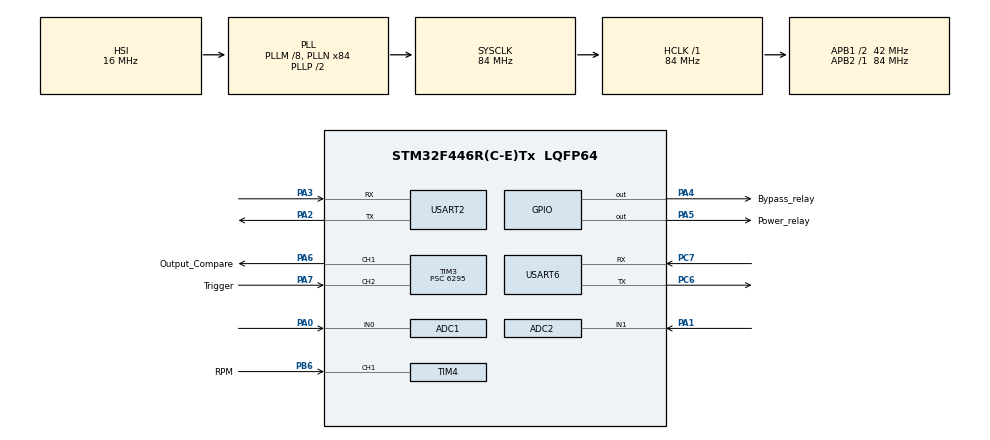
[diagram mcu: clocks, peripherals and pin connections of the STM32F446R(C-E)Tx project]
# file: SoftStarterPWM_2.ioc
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ADC1.Channel-0\#ChannelRegularConversion=ADC_CHANNEL_0
ADC1.ClockPrescaler=ADC_CLOCK_SYNC_PCLK_DIV4
ADC1.ContinuousConvMode=DISABLE
ADC1.DMAContinuousRequests=ENABLE
ADC1.DataAlign=ADC_DATAALIGN_RIGHT
ADC1.DiscontinuousConvMode=DISABLE
ADC1.EOCSelection=ADC_EOC_SINGLE_CONV
ADC1.EnableAnalogWatchDog=false
ADC1.ExternalTrigConv=ADC_EXTERNALTRIGCONV_T2_TRGO
ADC1.ExternalTrigConvEdge=ADC_EXTERNALTRIGCONVEDGE_RISING
ADC1.InjNumberOfConversion=0
ADC1.NbrOfConversion=1
ADC1.NbrOfConversionFlag=1
ADC1.Rank-0\#ChannelRegularConversion=1
ADC1.Resolution=ADC_RESOLUTION_12B
ADC1.SamplingTime-0\#ChannelRegularConversion=ADC_SAMPLETIME_3CYCLES
ADC1.ScanConvMode=DISABLE
ADC1.master=1
ADC2.Channel-8\#ChannelRegularConversion=ADC_CHANNEL_1
ADC2.ClockPrescaler=ADC_CLOCK_SYNC_PCLK_DIV4
ADC2.ContinuousConvMode=DISABLE
ADC2.DMAContinuousRequests=ENABLE
ADC2.DataAlign=ADC_DATAALIGN_RIGHT
ADC2.DiscontinuousConvMode=DISABLE
ADC2.EOCSelection=ADC_EOC_SINGLE_CONV
ADC2.EnableAnalogWatchDog=false
ADC2.ExternalTrigConv=ADC_EXTERNALTRIGCONV_T2_TRGO
ADC2.ExternalTrigConvEdge=ADC_EXTERNALTRIGCONVEDGE_RISING
ADC2.InjNumberOfConversion=0
ADC2.NbrOfConversion=1
ADC2.NbrOfConversionFlag=1
ADC2.Rank-8\#ChannelRegularConversion=1
ADC2.Resolution=ADC_RESOLUTION_12B
ADC2.SamplingTime-8\#ChannelRegularConversion=ADC_SAMPLETIME_3CYCLES
ADC2.ScanConvMode=DISABLE
Dma.ADC1.0.Direction=DMA_PERIPH_TO_MEMORY
Dma.ADC1.0.FIFOMode=DMA_FIFOMODE_DISABLE
Dma.ADC1.0.Instance=DMA2_Stream0
Dma.ADC1.0.MemDataAlignment=DMA_MDATAALIGN_HALFWORD
Dma.ADC1.0.MemInc=DMA_MINC_ENABLE
Dma.ADC1.0.Mode=DMA_CIRCULAR
Dma.ADC1.0.PeriphDataAlignment=DMA_PDATAALIGN_HALFWORD
Dma.ADC1.0.PeriphInc=DMA_PINC_DISABLE
Dma.ADC1.0.Priority=DMA_PRIORITY_HIGH
Dma.ADC2.1.Direction=DMA_PERIPH_TO_MEMORY
Dma.ADC2.1.FIFOMode=DMA_FIFOMODE_DISABLE
Dma.ADC2.1.Instance=DMA2_Stream2
Dma.ADC2.1.MemDataAlignment=DMA_MDATAALIGN_HALFWORD
Dma.ADC2.1.MemInc=DMA_MINC_ENABLE
Dma.ADC2.1.Mode=DMA_CIRCULAR
Dma.ADC2.1.PeriphDataAlignment=DMA_PDATAALIGN_HALFWORD
Dma.ADC2.1.PeriphInc=DMA_PINC_DISABLE
Dma.ADC2.1.Priority=DMA_PRIORITY_LOW
Dma.Request0=ADC1
Dma.Request1=ADC2
FREERTOS.Tasks01=Measure_Task,0,128,Measure_Thread,Default,NULL,Dynamic,NULL,NULL;Serial_Task,0,128,Serial_Thread,Default,NULL,Dynamic,NULL,NULL;RPM_Task,0,128,RPM_Thread,Default,NULL,Dynamic,NULL,NULL;Alarm_Task,0,128,Alarm_Thread,Default,NULL,Dynamic,NULL,NULL;Initialization_,3,128,Initialization_Thread,Default,NULL,Dynamic,NULL,NULL;SoftStart_Task,0,128,SoftStart_Thread,Default,NULL,Dynamic,NULL,NULL;Chart_Task,0,128,Chart_Thread,Default,NULL,Dynamic,NULL,NULL
FREERTOS.configUSE_PREEMPTION=1
Mcu.Family=STM32F4
Mcu.Name=STM32F446R(C-E)Tx
Mcu.Package=LQFP64
NVIC.DMA2_Stream0_IRQn=true\:5\:0\:false\:false\:true\:true\:false
NVIC.DMA2_Stream2_IRQn=true\:5\:0\:false\:false\:true\:true\:false
NVIC.PriorityGroup=NVIC_PRIORITYGROUP_4
NVIC.TIM1_UP_TIM10_IRQn=true\:5\:0\:false\:false\:true\:true\:true
NVIC.TIM3_IRQn=true\:5\:0\:false\:false\:true\:true\:true
NVIC.TIM4_IRQn=true\:5\:0\:false\:false\:true\:true\:true
NVIC.TIM8_TRG_COM_TIM14_IRQn=true\:0\:0\:false\:false\:true\:false\:false
NVIC.TimeBase=TIM8_TRG_COM_TIM14_IRQn
NVIC.TimeBaseIP=TIM14
PA0-WKUP.Signal=ADCx_IN0
PA1.Signal=ADCx_IN1
PA2.Mode=Asynchronous
PA2.Signal=USART2_TX
PA3.Mode=Asynchronous
PA3.Signal=USART2_RX
PA4.GPIO_Label=Bypass_relay
PA4.Signal=GPIO_Output
PA5.GPIO_Label=Power_relay
PA5.Signal=GPIO_Output
PA6.GPIO_Label=Output_Compare
PA6.Signal=S_TIM3_CH1
PA7.GPIO_Label=Trigger
PA7.GPIO_PuPd=GPIO_PULLDOWN
PA7.Signal=S_TIM3_CH2
PB6.GPIO_Label=RPM
PB6.Signal=S_TIM4_CH1
PC6.Mode=Asynchronous
PC6.Signal=USART6_TX
PC7.Mode=Asynchronous
PC7.Signal=USART6_RX
ProjectManager.HeapSize=0x200
ProjectManager.StackSize=0x400
ProjectManager.TargetToolchain=SW4STM32
RCC.AHBFreq_Value=84000000
RCC.APB1CLKDivider=RCC_HCLK_DIV2
RCC.APB1Freq_Value=42000000
RCC.APB1TimFreq_Value=84000000
RCC.APB2Freq_Value=84000000
RCC.APB2TimFreq_Value=84000000
RCC.CortexFreq_Value=84000000
RCC.HCLKFreq_Value=84000000
RCC.PLLM=8
RCC.PLLN=84
RCC.SYSCLKFreq_VALUE=84000000
RCC.SYSCLKSource=RCC_SYSCLKSOURCE_PLLCLK
RCC.USBFreq_Value=84000000
RCC.VCOOutputFreq_Value=168000000
SH.ADCx_IN0.0=ADC1_IN0,IN0
SH.ADCx_IN1.0=ADC2_IN1,IN1
SH.S_TIM3_CH1.0=TIM3_CH1,PWM Generation1 CH1
SH.S_TIM3_CH2.0=TIM3_CH2,TriggerSource_TI2FP2
SH.S_TIM4_CH1.0=TIM4_CH1,Input_Capture1_from_TI1
TIM1.Period=9999
TIM1.Prescaler=8499
TIM1.TIM_MasterOutputTrigger=TIM_TRGO_RESET
TIM2.Period=199
TIM2.Prescaler=174
TIM2.TIM_MasterOutputTrigger=TIM_TRGO_UPDATE
TIM3.Channel-PWM\ Generation1\ CH1=TIM_CHANNEL_1
TIM3.OCPolarity_1=TIM_OCPOLARITY_LOW
TIM3.Period=102
TIM3.Prescaler=6295
TIM3.Pulse-PWM\ Generation1\ CH1=150
TIM3.Slave_TriggerFilter=15
TIM3.Slave_TriggerPolarity=TIM_TRIGGERPOLARITY_FALLING
TIM4.Channel-Input_Capture1_from_TI1=TIM_CHANNEL_1
TIM4.ICFilter_CH1=10
TIM4.Period=999
TIM4.Prescaler=419
USART2.VirtualMode=VM_ASYNC
USART6.VirtualMode=VM_ASYNC
VP_FREERTOS_VS_ENABLE.Mode=Enabled
VP_SYS_VS_tim14.Mode=TIM14
VP_TIM1_VS_ClockSourceINT.Mode=Internal
VP_TIM2_VS_ClockSourceINT.Mode=Internal
VP_TIM3_VS_ClockSourceINT.Mode=Internal
VP_TIM3_VS_ControllerModeTrigger.Mode=Trigger Mode
VP_TIM3_VS_OPM.Mode=OPM_bit
VP_TIM4_VS_ClockSourceINT.Mode=Internal
board=SoftStarter

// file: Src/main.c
/**
  ******************************************************************************
  * @file           : main.c
  * @author         : Pedro Klein
  * @brief          : Programa para o controle do softstarter e da comunicacao com a interface
  ******************************************************************************
  * This notice applies to any and all portions of this file
  * that are not between comment pairs USER CODE BEGIN and
  * USER CODE END. Other portions of this file, whether
  * inserted by the user or by software development tools
  * are owned by their respective copyright owners.
  *
  * Copyright (c) 2018 STMicroelectronics International N.V.
  * All rights reserved.
  *
  * Redistribution and use in source and binary forms, with or without
  * modification, are permitted, provided that the following conditions are met:
  *
  * 1. Redistribution of source code must retain the above copyright notice,
  *    this list of conditions and the following disclaimer.
  * 2. Redistributions in binary form must reproduce the above copyright notice,
  *    this list of conditions and the following disclaimer in the documentation
  *    and/or other materials provided with the distribution.
  * 3. Neither the name of STMicroelectronics nor the names of other
  *    contributors to this software may be used to endorse or promote products
  *    derived from this software without specific written permission.
  * 4. This software, including modifications and/or derivative works of this
  *    software, must execute solely and exclusively on microcontroller or
  *    microprocessor devices manufactured by or for STMicroelectronics.
  * 5. Redistribution and use of this software other than as permitted under
  *    this license is void and will automatically terminate your rights under
  *    this license.
  *
  * THIS SOFTWARE IS PROVIDED BY STMICROELECTRONICS AND CONTRIBUTORS "AS IS"
  * AND ANY EXPRESS, IMPLIED OR STATUTORY WARRANTIES, INCLUDING, BUT NOT
  * LIMITED TO, THE IMPLIED WARRANTIES OF MERCHANTABILITY, FITNESS FOR A
  * PARTICULAR PURPOSE AND NON-INFRINGEMENT OF THIRD PARTY INTELLECTUAL PROPERTY
  * RIGHTS ARE DISCLAIMED TO THE FULLEST EXTENT PERMITTED BY LAW. IN NO EVENT
  * SHALL STMICROELECTRONICS OR CONTRIBUTORS BE LIABLE FOR ANY DIRECT, INDIRECT,
  * INCIDENTAL, SPECIAL, EXEMPLARY, OR CONSEQUENTIAL DAMAGES (INCLUDING, BUT NOT
  * LIMITED TO, PROCUREMENT OF SUBSTITUTE GOODS OR SERVICES; LOSS OF USE, DATA,
  * OR PROFITS; OR BUSINESS INTERRUPTION) HOWEVER CAUSED AND ON ANY THEORY OF
  * LIABILITY, WHETHER IN CONTRACT, STRICT LIABILITY, OR TORT (INCLUDING
  * NEGLIGENCE OR OTHERWISE) ARISING IN ANY WAY OUT OF THE USE OF THIS SOFTWARE,
  * EVEN IF ADVISED OF THE POSSIBILITY OF SUCH DAMAGE.
  *
  ******************************************************************************
  */
#include "main.h"
#include "stm32f4xx_hal.h"
#include "cmsis_os.h"

/* USER CODE BEGIN Includes */
#include <math.h>
//!Resolucao do ADC do Vrms
#define ADC_RES_Vrms 0.16748
//!Definicao do Vpico de Vrms
#define Vpike 342
//!Numero de aquisicoes durante a subida e descida para o grafico
#define Aquisitions 26
//!Valor minimo do angulo (varia de 1-100)
#define Increment_minimum 1
#define Arr_period 102
//!Erro compensado na medida Vrms
#define Vrms_ERROR 1.3
//!Erro compensado na medida Irms
#define Irms_ERROR 1

/**
  * @brief enum dos comandos recebidos pela interface
  * @note START:Comando recebido para iniciar
  * @note STOP:Comando recebido para parar
  * @note EMERGENCY:Comando recebido para parada de emergencia
  * @note VRMSREAD:Comando exigindo medida Vrms como retorno
  * @note IRMSREAD:Comando exigindo medida Irms como retorno
  * @note CURRENTSET:Comando que define a corrente nominal do motor
  */
enum calls
{
  START = 0x72,
  STOP = 0x66,
  EMERGENCY = 0x61,
  VRMSREAD = 0x76,
  IRMSREAD = 0x69,
  CURRENTSET = 0x63
};

/* USER CODE END Includes */

//!ADC1 usado para medidas de tensao
ADC_HandleTypeDef hadc1;
//!ADC2 usado para medidas de corrente
ADC_HandleTypeDef hadc2;
//!ADC1 usado com DMA
DMA_HandleTypeDef hdma_adc1;
//!ADC2 usado com DMA
DMA_HandleTypeDef hdma_adc2;

//!Timer 1 usado para atualizar o deslocamento do pulso de controle
TIM_HandleTypeDef htim1;
//!Timer 2 usado para triggar a conversao dos ADC's por DMA
TIM_HandleTypeDef htim2;
//!Timer 3 usado para gerar o pulso de controle (PWM)
TIM_HandleTypeDef htim3;
//!Timer 4 usado para contar RPM (IC)
TIM_HandleTypeDef htim4;

//!Comunicacao por cabo
UART_HandleTypeDef huart2;
//!Comunicacao por bluetooth
UART_HandleTypeDef huart6;

osThreadId Measure_TaskHandle;
osThreadId Serial_TaskHandle;
osThreadId RPM_TaskHandle;
osThreadId Alarm_TaskHandle;
osThreadId Initialization_Handle;
osThreadId SoftStart_TaskHandle;
osThreadId Chart_TaskHandle;

/* USER CODE BEGIN PV */

//!Semaforo para sincronizacao do AD com a thread de calculo rms.
xSemaphoreHandle ADC_Conv_Semaphore = 0;
//!Semaforo para sincronizacao do deslocamento de pulso com a thread de atualizacao do pulso
xSemaphoreHandle Increment_Semaphore = 0;
//!Semaforo para envio de notificacao de emergencia a interface.
xSemaphoreHandle Emergency_Semaphore = 0;
//!Semaforo para envio de notificacao de corrente > 150% a interface
xSemaphoreHandle E150_Semaphore = 0;

/* Private variables ---------------------------------------------------------*/

//!Vetor que recebe conversao do ADC1
uint16_t ADC_Values_Vrms[16];
//!Vetor que recebe conversao do ADC2
uint16_t ADC_Values_Irms[16];
//!Variavel que recebe corrente nominal do motor da interface
uint16_t Nominal_Current = 500;
//!Variavel que recebe o Ipico da medida Irms
uint16_t Ipike = 1000;
//!Vetor das medidas Irms do grafico de subida
uint16_t Irms_data_rise[Aquisitions];
//!Vetor das medidas Irms do grafico de descida
uint16_t Irms_data_fall[Aquisitions];
//!Variavel que armazena valor de 200% de Irms
uint16_t i200 = 10000;
//!Variavel que armazena valor de 150% de Irms
uint16_t i150 = 10000;
//!Variavel que recebe valor final de Vrms
uint16_t Vrms;
//!Variavel que recebe valor final de Irms
uint16_t Irms;

//!Variavel que recebe tempo de subida
uint8_t rising_time = 5;
//!Variavel que recebe tempo de descida
uint8_t falling_time = 5;
//!Variavel que desloca os pulsos de controle
uint8_t increment = 102;
//!Flag que indica se o motor esta acelerando
uint8_t rise = 0;
//!Flag que indica se o motor esta desacelerando
uint8_t fall = 0;
//!Definicao da largura do pulso de controle
uint8_t Pulse_Width = 2;
//!Flag que indica o fim da aceleracao
uint8_t rise_ok = 0;
//!Flag que indica o fim da desaceleracao
uint8_t fall_ok = 0;
//!Flag que indica atualizacao da posicao do pulso de controle
uint8_t check = 1;
//!Flag que indica se a corrente nominal foi definida na interface
uint8_t Nominal_Current_SET = 0;

//!Variavel que recebe a resolucao do ADC de Irms
float ADC_RES_Irms = 0.48828;

/* USER CODE END PV */

void SystemClock_Config(void);
static void MX_GPIO_Init(void);
static void MX_DMA_Init(void);
static void MX_ADC1_Init(void);
static void MX_TIM3_Init(void);
static void MX_TIM2_Init(void);
static void MX_TIM1_Init(void);
static void MX_TIM4_Init(void);
static void MX_ADC2_Init(void);
static void MX_USART2_UART_Init(void);
static void MX_USART6_UART_Init(void);
void Measure_Thread(void const *argument);
void Serial_Thread(void const *argument);
void RPM_Thread(void const *argument);
void Alarm_Thread(void const *argument);
void Initialization_Thread(void const *argument);
void SoftStart_Thread(void const *argument);
void Chart_Thread(void const *argument);

void HAL_TIM_MspPostInit(TIM_HandleTypeDef *htim);

/* USER CODE BEGIN PFP */
/* Private function prototypes -----------------------------------------------*/
/**
  * @brief Funcao que executa todas medidas necessarias para emergencia
  * @note Zera as flags que indicam aceleracao ou desaceleracao
  * @note Desliga os dois reles, o de alimentacao e o de bypass
  * @note Para o timer responsavel por gerar o pulso de controle
  * @note Seta a variavel 'increment' para seu valor inicial
  */
void Emergency(void)
{
  fall = 0;
  rise = 0;
  HAL_GPIO_WritePin(GPIOA, Bypass_relay_Pin, GPIO_PIN_RESET);
  HAL_GPIO_WritePin(GPIOA, Power_relay_Pin, GPIO_PIN_RESET);
  HAL_TIM_OC_Stop_IT(&htim3, TIM_CHANNEL_1);
  increment = (Arr_period - Pulse_Width);
}
/* USER CODE END PFP */

int main(void)
{

  /* MCU Configuration----------------------------------------------------------*/

  /* Reset of all peripherals, Initializes the Flash interface and the Systick. */
  HAL_Init();

  /* Configure the system clock */
  SystemClock_Config();

  /* Initialize all configured peripherals */
  MX_GPIO_Init();
  MX_DMA_Init();
  MX_ADC1_Init();
  MX_TIM3_Init();
  MX_TIM2_Init();
  MX_TIM1_Init();
  MX_TIM4_Init();
  MX_ADC2_Init();
  MX_USART2_UART_Init();
  MX_USART6_UART_Init();

  /* Create the thread(s) */
  /* definition and creation of Measure_Task */
  osThreadDef(Measure_Task, Measure_Thread, osPriorityNormal, 0, 128);
  Measure_TaskHandle = osThreadCreate(osThread(Measure_Task), NULL);

  /* definition and creation of Serial_Task */
  osThreadDef(Serial_Task, Serial_Thread, osPriorityNormal, 0, 128);
  Serial_TaskHandle = osThreadCreate(osThread(Serial_Task), NULL);

  /* definition and creation of RPM_Task */
  osThreadDef(RPM_Task, RPM_Thread, osPriorityNormal, 0, 128);
  RPM_TaskHandle = osThreadCreate(osThread(RPM_Task), NULL);

  /* definition and creation of Alarm_Task */
  osThreadDef(Alarm_Task, Alarm_Thread, osPriorityNormal, 0, 128);
  Alarm_TaskHandle = osThreadCreate(osThread(Alarm_Task), NULL);

  /* definition and creation of Initialization_ */
  osThreadDef(Initialization_, Initialization_Thread, osPriorityRealtime, 0, 128);
  Initialization_Handle = osThreadCreate(osThread(Initialization_), NULL);

  /* definition and creation of SoftStart_Task */
  osThreadDef(SoftStart_Task, SoftStart_Thread, osPriorityNormal, 0, 128);
  SoftStart_TaskHandle = osThreadCreate(osThread(SoftStart_Task), NULL);

  /* definition and creation of Chart_Task */
  osThreadDef(Chart_Task, Chart_Thread, osPriorityNormal, 0, 128);
  Chart_TaskHandle = osThreadCreate(osThread(Chart_Task), NULL);

  /* Start scheduler */
  osKernelStart();

  /* We should never get here as control is now taken by the scheduler */

  /* Infinite loop */
  while (1)
  {

  }
}

void SystemClock_Config(void)
{

  RCC_OscInitTypeDef RCC_OscInitStruct;
  RCC_ClkInitTypeDef RCC_ClkInitStruct;

  /**Configure the main internal regulator output voltage
    */
  __HAL_RCC_PWR_CLK_ENABLE();

  __HAL_PWR_VOLTAGESCALING_CONFIG(PWR_REGULATOR_VOLTAGE_SCALE3);

  /**Initializes the CPU, AHB and APB busses clocks
    */
  RCC_OscInitStruct.OscillatorType = RCC_OSCILLATORTYPE_HSI;
  RCC_OscInitStruct.HSIState = RCC_HSI_ON;
  RCC_OscInitStruct.HSICalibrationValue = 16;
  RCC_OscInitStruct.PLL.PLLState = RCC_PLL_ON;
  RCC_OscInitStruct.PLL.PLLSource = RCC_PLLSOURCE_HSI;
  RCC_OscInitStruct.PLL.PLLM = 8;
  RCC_OscInitStruct.PLL.PLLN = 84;
  RCC_OscInitStruct.PLL.PLLP = RCC_PLLP_DIV2;
  RCC_OscInitStruct.PLL.PLLQ = 2;
  RCC_OscInitStruct.PLL.PLLR = 2;
  if (HAL_RCC_OscConfig(&RCC_OscInitStruct) != HAL_OK)
  {
    _Error_Handler(__FILE__, __LINE__);
  }

  /**Initializes the CPU, AHB and APB busses clocks
    */
  RCC_ClkInitStruct.ClockType = RCC_CLOCKTYPE_HCLK | RCC_CLOCKTYPE_SYSCLK | RCC_CLOCKTYPE_PCLK1 | RCC_CLOCKTYPE_PCLK2;
  RCC_ClkInitStruct.SYSCLKSource = RCC_SYSCLKSOURCE_PLLCLK;
  RCC_ClkInitStruct.AHBCLKDivider = RCC_SYSCLK_DIV1;
  RCC_ClkInitStruct.APB1CLKDivider = RCC_HCLK_DIV2;
  RCC_ClkInitStruct.APB2CLKDivider = RCC_HCLK_DIV1;

  if (HAL_RCC_ClockConfig(&RCC_ClkInitStruct, FLASH_LATENCY_2) != HAL_OK)
  {
    _Error_Handler(__FILE__, __LINE__);
  }

  /**Configure the Systick interrupt time
    */
  HAL_SYSTICK_Config(HAL_RCC_GetHCLKFreq() / 1000);

  /**Configure the Systick
    */
  HAL_SYSTICK_CLKSourceConfig(SYSTICK_CLKSOURCE_HCLK);

  /* SysTick_IRQn interrupt configuration */
  HAL_NVIC_SetPriority(SysTick_IRQn, 15, 0);
}

/* ADC1 init function */
static void MX_ADC1_Init(void)
{

  ADC_ChannelConfTypeDef sConfig;

  /**Configure the global features of the ADC (Clock, Resolution, Data Alignment and number of conversion)
    */
  hadc1.Instance = ADC1;
  hadc1.Init.ClockPrescaler = ADC_CLOCK_SYNC_PCLK_DIV4;
  hadc1.Init.Resolution = ADC_RESOLUTION_12B;
  hadc1.Init.ScanConvMode = DISABLE;
  hadc1.Init.ContinuousConvMode = DISABLE;
  hadc1.Init.DiscontinuousConvMode = DISABLE;
  hadc1.Init.ExternalTrigConvEdge = ADC_EXTERNALTRIGCONVEDGE_RISING;
  hadc1.Init.ExternalTrigConv = ADC_EXTERNALTRIGCONV_T2_TRGO;
  hadc1.Init.DataAlign = ADC_DATAALIGN_RIGHT;
  hadc1.Init.NbrOfConversion = 1;
  hadc1.Init.DMAContinuousRequests = ENABLE;
  hadc1.Init.EOCSelection = ADC_EOC_SINGLE_CONV;
  if (HAL_ADC_Init(&hadc1) != HAL_OK)
  {
    _Error_Handler(__FILE__, __LINE__);
  }

  /**Configure for the selected ADC regular channel its corresponding rank in the sequencer and its sample time.
    */
  sConfig.Channel = ADC_CHANNEL_0;
  sConfig.Rank = 1;
  sConfig.SamplingTime = ADC_SAMPLETIME_3CYCLES;
  if (HAL_ADC_ConfigChannel(&hadc1, &sConfig) != HAL_OK)
  {
    _Error_Handler(__FILE__, __LINE__);
  }
}

/* ADC2 init function */
static void MX_ADC2_Init(void)
{

  ADC_ChannelConfTypeDef sConfig;

  /**Configure the global features of the ADC (Clock, Resolution, Data Alignment and number of conversion)
    */
  hadc2.Instance = ADC2;
  hadc2.Init.ClockPrescaler = ADC_CLOCK_SYNC_PCLK_DIV4;
  hadc2.Init.Resolution = ADC_RESOLUTION_12B;
  hadc2.Init.ScanConvMode = DISABLE;
  hadc2.Init.ContinuousConvMode = DISABLE;
  hadc2.Init.DiscontinuousConvMode = DISABLE;
  hadc2.Init.ExternalTrigConvEdge = ADC_EXTERNALTRIGCONVEDGE_RISING;
  hadc2.Init.ExternalTrigConv = ADC_EXTERNALTRIGCONV_T2_TRGO;
  hadc2.Init.DataAlign = ADC_DATAALIGN_RIGHT;
  hadc2.Init.NbrOfConversion = 1;
  hadc2.Init.DMAContinuousRequests = ENABLE;
  hadc2.Init.EOCSelection = ADC_EOC_SINGLE_CONV;
  if (HAL_ADC_Init(&hadc2) != HAL_OK)
  {
    _Error_Handler(__FILE__, __LINE__);
  }

  /**Configure for the selected ADC regular channel its corresponding rank in the sequencer and its sample time.
    */
  sConfig.Channel = ADC_CHANNEL_1;
  sConfig.Rank = 1;
  sConfig.SamplingTime = ADC_SAMPLETIME_3CYCLES;
  if (HAL_ADC_ConfigChannel(&hadc2, &sConfig) != HAL_OK)
  {
    _Error_Handler(__FILE__, __LINE__);
  }
}

/* TIM1 init function */
static void MX_TIM1_Init(void)
{

  TIM_ClockConfigTypeDef sClockSourceConfig;
  TIM_MasterConfigTypeDef sMasterConfig;

  htim1.Instance = TIM1;
  htim1.Init.Prescaler = 8499;
  htim1.Init.CounterMode = TIM_COUNTERMODE_UP;
  htim1.Init.Period = 9999;
  htim1.Init.ClockDivision = TIM_CLOCKDIVISION_DIV1;
  htim1.Init.RepetitionCounter = 0;
  if (HAL_TIM_Base_Init(&htim1) != HAL_OK)
  {
    _Error_Handler(__FILE__, __LINE__);
  }

  sClockSourceConfig.ClockSource = TIM_CLOCKSOURCE_INTERNAL;
  if (HAL_TIM_ConfigClockSource(&htim1, &sClockSourceConfig) != HAL_OK)
  {
    _Error_Handler(__FILE__, __LINE__);
  }

  sMasterConfig.MasterOutputTrigger = TIM_TRGO_RESET;
  sMasterConfig.MasterSlaveMode = TIM_MASTERSLAVEMODE_DISABLE;
  if (HAL_TIMEx_MasterConfigSynchronization(&htim1, &sMasterConfig) != HAL_OK)
  {
    _Error_Handler(__FILE__, __LINE__);
  }
}

/* TIM2 init function */
static void MX_TIM2_Init(void)
{

  TIM_ClockConfigTypeDef sClockSourceConfig;
  TIM_MasterConfigTypeDef sMasterConfig;

  htim2.Instance = TIM2;
  htim2.Init.Prescaler = 174;
  htim2.Init.CounterMode = TIM_COUNTERMODE_UP;
  htim2.Init.Period = 199;
  htim2.Init.ClockDivision = TIM_CLOCKDIVISION_DIV1;
  if (HAL_TIM_Base_Init(&htim2) != HAL_OK)
  {
    _Error_Handler(__FILE__, __LINE__);
  }

  sClockSourceConfig.ClockSource = TIM_CLOCKSOURCE_INTERNAL;
  if (HAL_TIM_ConfigClockSource(&htim2, &sClockSourceConfig) != HAL_OK)
  {
    _Error_Handler(__FILE__, __LINE__);
  }

  sMasterConfig.MasterOutputTrigger = TIM_TRGO_UPDATE;
  sMasterConfig.MasterSlaveMode = TIM_MASTERSLAVEMODE_DISABLE;
  if (HAL_TIMEx_MasterConfigSynchronization(&htim2, &sMasterConfig) != HAL_OK)
  {
    _Error_Handler(__FILE__, __LINE__);
  }
}

/* TIM3 init function */
static void MX_TIM3_Init(void)
{

  TIM_ClockConfigTypeDef sClockSourceConfig;
  TIM_SlaveConfigTypeDef sSlaveConfig;
  TIM_MasterConfigTypeDef sMasterConfig;
  TIM_OC_InitTypeDef sConfigOC;

  htim3.Instance = TIM3;
  htim3.Init.Prescaler = 6295;
  htim3.Init.CounterMode = TIM_COUNTERMODE_UP;
  htim3.Init.Period = 102;
  htim3.Init.ClockDivision = TIM_CLOCKDIVISION_DIV1;
  if (HAL_TIM_Base_Init(&htim3) != HAL_OK)
  {
    _Error_Handler(__FILE__, __LINE__);
  }

  sClockSourceConfig.ClockSource = TIM_CLOCKSOURCE_INTERNAL;
  if (HAL_TIM_ConfigClockSource(&htim3, &sClockSourceConfig) != HAL_OK)
  {
    _Error_Handler(__FILE__, __LINE__);
  }

  if (HAL_TIM_PWM_Init(&htim3) != HAL_OK)
  {
    _Error_Handler(__FILE__, __LINE__);
  }

  if (HAL_TIM_OnePulse_Init(&htim3, TIM_OPMODE_SINGLE) != HAL_OK)
  {
    _Error_Handler(__FILE__, __LINE__);
  }

  sSlaveConfig.SlaveMode = TIM_SLAVEMODE_TRIGGER;
  sSlaveConfig.InputTrigger = TIM_TS_TI2FP2;
  sSlaveConfig.TriggerPolarity = TIM_TRIGGERPOLARITY_FALLING;
  sSlaveConfig.TriggerFilter = 15;
  if (HAL_TIM_SlaveConfigSynchronization(&htim3, &sSlaveConfig) != HAL_OK)
  {
    _Error_Handler(__FILE__, __LINE__);
  }

  sMasterConfig.MasterOutputTrigger = TIM_TRGO_RESET;
  sMasterConfig.MasterSlaveMode = TIM_MASTERSLAVEMODE_DISABLE;
  if (HAL_TIMEx_MasterConfigSynchronization(&htim3, &sMasterConfig) != HAL_OK)
  {
    _Error_Handler(__FILE__, __LINE__);
  }

  sConfigOC.OCMode = TIM_OCMODE_PWM1;
  sConfigOC.Pulse = 150;
  sConfigOC.OCPolarity = TIM_OCPOLARITY_LOW;
  sConfigOC.OCFastMode = TIM_OCFAST_DISABLE;
  if (HAL_TIM_PWM_ConfigChannel(&htim3, &sConfigOC, TIM_CHANNEL_1) != HAL_OK)
  {
    _Error_Handler(__FILE__, __LINE__);
  }

  HAL_TIM_MspPostInit(&htim3);
}

/* TIM4 init function */
static void MX_TIM4_Init(void)
{

  TIM_ClockConfigTypeDef sClockSourceConfig;
  TIM_MasterConfigTypeDef sMasterConfig;
  TIM_IC_InitTypeDef sConfigIC;

  htim4.Instance = TIM4;
  htim4.Init.Prescaler = 419;
  htim4.Init.CounterMode = TIM_COUNTERMODE_UP;
  htim4.Init.Period = 999;
  htim4.Init.ClockDivision = TIM_CLOCKDIVISION_DIV1;
  if (HAL_TIM_Base_Init(&htim4) != HAL_OK)
  {
    _Error_Handler(__FILE__, __LINE__);
  }

  sClockSourceConfig.ClockSource = TIM_CLOCKSOURCE_INTERNAL;
  if (HAL_TIM_ConfigClockSource(&htim4, &sClockSourceConfig) != HAL_OK)
  {
    _Error_Handler(__FILE__, __LINE__);
  }

  if (HAL_TIM_IC_Init(&htim4) != HAL_OK)
  {
    _Error_Handler(__FILE__, __LINE__);
  }

  sMasterConfig.MasterOutputTrigger = TIM_TRGO_RESET;
  sMasterConfig.MasterSlaveMode = TIM_MASTERSLAVEMODE_DISABLE;
  if (HAL_TIMEx_MasterConfigSynchronization(&htim4, &sMasterConfig) != HAL_OK)
  {
    _Error_Handler(__FILE__, __LINE__);
  }

  sConfigIC.ICPolarity = TIM_INPUTCHANNELPOLARITY_RISING;
  sConfigIC.ICSelection = TIM_ICSELECTION_DIRECTTI;
  sConfigIC.ICPrescaler = TIM_ICPSC_DIV1;
  sConfigIC.ICFilter = 10;
  if (HAL_TIM_IC_ConfigChannel(&htim4, &sConfigIC, TIM_CHANNEL_1) != HAL_OK)
  {
    _Error_Handler(__FILE__, __LINE__);
  }
}

/* USART2 init function */
static void MX_USART2_UART_Init(void)
{

  huart2.Instance = USART2;
  huart2.Init.BaudRate = 115200;
  huart2.Init.WordLength = UART_WORDLENGTH_8B;
  huart2.Init.StopBits = UART_STOPBITS_1;
  huart2.Init.Parity = UART_PARITY_NONE;
  huart2.Init.Mode = UART_MODE_TX_RX;
  huart2.Init.HwFlowCtl = UART_HWCONTROL_NONE;
  huart2.Init.OverSampling = UART_OVERSAMPLING_16;
  if (HAL_UART_Init(&huart2) != HAL_OK)
  {
    _Error_Handler(__FILE__, __LINE__);
  }
}

/* USART6 init function */
static void MX_USART6_UART_Init(void)
{

  huart6.Instance = USART6;
  huart6.Init.BaudRate = 115200;
  huart6.Init.WordLength = UART_WORDLENGTH_8B;
  huart6.Init.StopBits = UART_STOPBITS_1;
  huart6.Init.Parity = UART_PARITY_NONE;
  huart6.Init.Mode = UART_MODE_TX_RX;
  huart6.Init.HwFlowCtl = UART_HWCONTROL_NONE;
  huart6.Init.OverSampling = UART_OVERSAMPLING_16;
  if (HAL_UART_Init(&huart6) != HAL_OK)
  {
    _Error_Handler(__FILE__, __LINE__);
  }
}

static void MX_DMA_Init(void)
{
  /* DMA controller clock enable */
  __HAL_RCC_DMA2_CLK_ENABLE();

  /* DMA interrupt init */
  /* DMA2_Stream0_IRQn interrupt configuration */
  HAL_NVIC_SetPriority(DMA2_Stream0_IRQn, 5, 0);
  HAL_NVIC_EnableIRQ(DMA2_Stream0_IRQn);
  /* DMA2_Stream2_IRQn interrupt configuration */
  HAL_NVIC_SetPriority(DMA2_Stream2_IRQn, 5, 0);
  HAL_NVIC_EnableIRQ(DMA2_Stream2_IRQn);
}

/** Configure pins as
        * Analog
        * Input
        * Output
        * EVENT_OUT
        * EXTI
        * Free pins are configured automatically as Analog (this feature is enabled through
        * the Code Generation settings)
*/
static void MX_GPIO_Init(void)
{

  GPIO_InitTypeDef GPIO_InitStruct;

  /* GPIO Ports Clock Enable */
  __HAL_RCC_GPIOC_CLK_ENABLE();
  __HAL_RCC_GPIOH_CLK_ENABLE();
  __HAL_RCC_GPIOA_CLK_ENABLE();
  __HAL_RCC_GPIOB_CLK_ENABLE();
  __HAL_RCC_GPIOD_CLK_ENABLE();

  /*Configure GPIO pin Output Level */
  HAL_GPIO_WritePin(GPIOA, Bypass_relay_Pin | Power_relay_Pin, GPIO_PIN_RESET);

  /*Configure GPIO pins : PC13 PC14 PC15 PC0
                           PC1 PC2 PC3 PC4
                           PC5 PC8 PC9 PC10
                           PC11 PC12 */
  GPIO_InitStruct.Pin = GPIO_PIN_13 | GPIO_PIN_14 | GPIO_PIN_15 | GPIO_PIN_0 | GPIO_PIN_1 | GPIO_PIN_2 | GPIO_PIN_3 | GPIO_PIN_4 | GPIO_PIN_5 | GPIO_PIN_8 | GPIO_PIN_9 | GPIO_PIN_10 | GPIO_PIN_11 | GPIO_PIN_12;
  GPIO_InitStruct.Mode = GPIO_MODE_ANALOG;
  GPIO_InitStruct.Pull = GPIO_NOPULL;
  HAL_GPIO_Init(GPIOC, &GPIO_InitStruct);

  /*Configure GPIO pins : PH0 PH1 */
  GPIO_InitStruct.Pin = GPIO_PIN_0 | GPIO_PIN_1;
  GPIO_InitStruct.Mode = GPIO_MODE_ANALOG;
  GPIO_InitStruct.Pull = GPIO_NOPULL;
  HAL_GPIO_Init(GPIOH, &GPIO_InitStruct);

  /*Configure GPIO pins : Bypass_relay_Pin Power_relay_Pin */
  GPIO_InitStruct.Pin = Bypass_relay_Pin | Power_relay_Pin;
  GPIO_InitStruct.Mode = GPIO_MODE_OUTPUT_PP;
  GPIO_InitStruct.Pull = GPIO_NOPULL;
  GPIO_InitStruct.Speed = GPIO_SPEED_FREQ_LOW;
  HAL_GPIO_Init(GPIOA, &GPIO_InitStruct);

  /*Configure GPIO pins : PB0 PB1 PB2 PB10
                           PB12 PB13 PB14 PB15
                           PB3 PB4 PB5 PB7
                           PB8 PB9 */
  GPIO_InitStruct.Pin = GPIO_PIN_0 | GPIO_PIN_1 | GPIO_PIN_2 | GPIO_PIN_10 | GPIO_PIN_12 | GPIO_PIN_13 | GPIO_PIN_14 | GPIO_PIN_15 | GPIO_PIN_3 | GPIO_PIN_4 | GPIO_PIN_5 | GPIO_PIN_7 | GPIO_PIN_8 | GPIO_PIN_9;
  GPIO_InitStruct.Mode = GPIO_MODE_ANALOG;
  GPIO_InitStruct.Pull = GPIO_NOPULL;
  HAL_GPIO_Init(GPIOB, &GPIO_InitStruct);

  /*Configure GPIO pins : PA8 PA9 PA10 PA11
                           PA12 PA13 PA14 PA15 */
  GPIO_InitStruct.Pin = GPIO_PIN_8 | GPIO_PIN_9 | GPIO_PIN_10 | GPIO_PIN_11 | GPIO_PIN_12 | GPIO_PIN_13 | GPIO_PIN_14 | GPIO_PIN_15;
  GPIO_InitStruct.Mode = GPIO_MODE_ANALOG;
  GPIO_InitStruct.Pull = GPIO_NOPULL;
  HAL_GPIO_Init(GPIOA, &GPIO_InitStruct);

  /*Configure GPIO pin : PD2 */
  GPIO_InitStruct.Pin = GPIO_PIN_2;
  GPIO_InitStruct.Mode = GPIO_MODE_ANALOG;
  GPIO_InitStruct.Pull = GPIO_NOPULL;
  HAL_GPIO_Init(GPIOD, &GPIO_InitStruct);
}

/* USER CODE BEGIN 4 */

/**
  * @brief Callback executado sempre que o DMA termina todas conversoes dos ADC�s
  * @note Disponibiliza o semaforo 'ADC_Conv_Semaphore', permitindo o calculo rms das conversoes
  */
void HAL_ADC_ConvCpltCallback(ADC_HandleTypeDef *hadc)
{
  if (hadc->Instance == ADC1)
    xSemaphoreGiveFromISR(ADC_Conv_Semaphore, &Measure_TaskHandle);
}
/* USER CODE END 4 */

/* Measure_Thread function */
/**
  * @brief Thread para o calculo rms das medidas dos ADC's
  * @note Somente e executada se o semaforo 'ADC_Conv_Semaphore' esta disponivel
  * @note Para a medida Vrms e setado um offset em 2048, portando -Vpico = 0V e +Vpico = 3v3
  * @note Para a medida Irms e utilizado um retificador de precisao, nao sendo necessario o offset
  * @note Nos dois casos e realizado a media dos 16 valores convertidos, que e multiplicado pela
  * resolucao correspondente do seu ADC, esse valor e elevado ao quadrado
  * @note Esse processo e realizado 16 vezes, e entao e realizada outra media do valor quadratico
  * @note Por fim e feita a raiz quadrada dessa media quadratica, retornando o valor final rms
  */
void Measure_Thread(void const *argument)
{

  /* USER CODE BEGIN 5 */
  //!Vetor que recebe os valores convertidos de tensao de cada ciclo
  float ADC_Cycles_Vrms[16];
  //!Vetor que recebe os valores convertidos de corrente de cada ciclo
  float ADC_Cycles_Irms[16];
  //!Variavel de contagem de ciclos
  uint8_t count = 0;
  /* Infinite loop */
  while (1)
  {
    if (xSemaphoreTake(ADC_Conv_Semaphore, 10))
    {
      ADC_Cycles_Vrms[count] = pow(
          ((ADC_RES_Vrms * (ADC_Values_Vrms[0] + ADC_Values_Vrms[1] + ADC_Values_Vrms[2] + ADC_Values_Vrms[3] +
          ADC_Values_Vrms[4] + ADC_Values_Vrms[5] + ADC_Values_Vrms[6] + ADC_Values_Vrms[7] + ADC_Values_Vrms[8] +
          ADC_Values_Vrms[9] + ADC_Values_Vrms[10] + ADC_Values_Vrms[11] + ADC_Values_Vrms[12] + ADC_Values_Vrms[13] +
          ADC_Values_Vrms[14] + ADC_Values_Vrms[15]) / 16)) - Vpike, 2);
      //!So realiza o calculo de Irms caso a corrente nominal tenha sido definida
      if (Nominal_Current_SET)
      {
        ADC_Cycles_Irms[count] = pow(
            ((ADC_RES_Irms * (ADC_Values_Irms[0] + ADC_Values_Irms[1] + ADC_Values_Irms[2] + ADC_Values_Irms[3] +
            ADC_Values_Irms[4] + ADC_Values_Irms[5] + ADC_Values_Irms[6] + ADC_Values_Irms[7] + ADC_Values_Irms[8] +
            ADC_Values_Irms[9] + ADC_Values_Irms[10] + ADC_Values_Irms[11] + ADC_Values_Irms[12] + ADC_Values_Irms[13] +
            ADC_Values_Irms[14] + ADC_Values_Irms[15]) / 16)), 2);
      }
      count++;
      if (count == 16)
      {
        count = 0;
        Vrms = round(
            sqrt(
                (ADC_Cycles_Vrms[0] + ADC_Cycles_Vrms[1] + ADC_Cycles_Vrms[2] + ADC_Cycles_Vrms[3] + ADC_Cycles_Vrms[4] +
                ADC_Cycles_Vrms[5] + ADC_Cycles_Vrms[6] + ADC_Cycles_Vrms[7] + ADC_Cycles_Vrms[8] + ADC_Cycles_Vrms[9] +
                ADC_Cycles_Vrms[10] + ADC_Cycles_Vrms[11] + ADC_Cycles_Vrms[12] + ADC_Cycles_Vrms[13] + ADC_Cycles_Vrms[14] +
                ADC_Cycles_Vrms[15]) / 16) *
            Vrms_ERROR);
        //!So realiza o calculo de Irms caso a corrente nominal tenha sido definida
        if (Nominal_Current_SET)
        {
          Irms = round(
              sqrt(
                  (ADC_Cycles_Irms[0] + ADC_Cycles_Irms[1] + ADC_Cycles_Irms[2] + ADC_Cycles_Irms[3] + ADC_Cycles_Irms[4] +
                  ADC_Cycles_Irms[5] + ADC_Cycles_Irms[6] + ADC_Cycles_Irms[7] + ADC_Cycles_Irms[8] + ADC_Cycles_Irms[9] +
                  ADC_Cycles_Irms[10] + ADC_Cycles_Irms[11] + ADC_Cycles_Irms[12] + ADC_Cycles_Irms[13] + ADC_Cycles_Irms[14] +
                  ADC_Cycles_Irms[15]) / 16) *
              Irms_ERROR);
        }
      }
    }
    osDelay(1);
  }
  /* USER CODE END 5 */
}

/* Serial_Thread function */
/**
  * @brief Thread que controla o envio e o recebimento da serial
  * @note Possui um caso para cada chamada da interface
  * @note Verifica as flags e semaforos que indicam a necessidade de envio de confirmacao a interface
  */
void Serial_Thread(void const *argument)
{
  /* USER CODE BEGIN Serial_Thread */
  /* Infinite loop */
  //!Caracter que indica a ordem da interface
  uint8_t rx;
  //!Vetor que contem o tempo de subida ou descida definido na interface
  uint8_t rxtime[5];
  //!Variavel que recebe o tamanho da string a ser enviada
  uint8_t size;
  //!String para envio de dados solicitados a interface
  char tx[5];
  //!Stirng para envio de mensagens a interface
  char msg[20];
  while (1)
  {
    if (HAL_UART_Receive(&huart6, &rx, 1, 1) == HAL_OK)
    {
      switch (rx)
      {

      //!Procedimentos realizados quando a corrente nominal e definida na interface
      case CURRENTSET:
        if (HAL_UART_Receive(&huart6, rxtime, 4, 100) == HAL_OK)
        {
          taskENTER_CRITICAL();
          Nominal_Current = (uint16_t)(1000 * (rxtime[0] - '0') + 100 * (rxtime[1] - '0') + 10 * (rxtime[2] - '0') + (rxtime[3] - '0'));
          Ipike = Nominal_Current * 2;
          ADC_RES_Irms = (Nominal_Current * 6) / 4095.;
          Nominal_Current_SET = 1;
          i150 = round(Nominal_Current * 1.5);
          i200 = Nominal_Current * 2;
          taskEXIT_CRITICAL();
        }
        else
        {
          Nominal_Current_SET = 0;
          //!Sinaliza erro na definicao da corrente nominal para interface
          size = sprintf(msg, "Z\n");
          HAL_UART_Transmit(&huart6, (uint8_t *)msg, size, 10);
        }
        break;

      //!Retorna a medida Vrms para a interface
      case VRMSREAD:
        size = sprintf(tx, "P%d\n", Vrms);
        HAL_UART_Transmit(&huart6, (uint8_t *)tx, size, 10);
        break;

      //!Retorna a medida Irms para a interface
      case IRMSREAD:
        size = sprintf(tx, "U%d\n", Irms);
        HAL_UART_Transmit(&huart6, (uint8_t *)tx, size, 10);
        break;

      //!Procedimentos realizados quando e ordenado a aceleracao
      case START:
        if ((!fall && !rise) && increment > Increment_minimum)
        {
          if (HAL_UART_Receive(&huart6, rxtime, 2, 100) == HAL_OK)
          {
            taskENTER_CRITICAL();
            rising_time = (uint8_t)(10 * (rxtime[0] - '0') + rxtime[1] - '0');
            //!Retorna o sucesso da comunicacao a interface
            size = sprintf(msg, "A\n");
            HAL_UART_Transmit(&huart6, (uint8_t *)msg, size, 10);
            HAL_GPIO_WritePin(GPIOA, Power_relay_Pin, GPIO_PIN_SET);
            HAL_GPIO_WritePin(GPIOA, Bypass_relay_Pin, GPIO_PIN_RESET);
            rise = 1;
            fall = 0;
            HAL_TIM_Base_Start_IT(&htim1);
            HAL_TIM_OC_Start_IT(&htim3, TIM_CHANNEL_1);
            __HAL_TIM_SET_AUTORELOAD(&htim1, 0);
            __HAL_TIM_SET_AUTORELOAD(&htim1, (rising_time * 100) - 1);
            taskEXIT_CRITICAL();
          }
          else
          {
            //!Indica que o comando nao foi realizado com sucesso
            size = sprintf(msg, "ITimeout\n");
            HAL_UART_Transmit(&huart6, (uint8_t *)msg, size, 10);
          }
        }
        else if (increment != Increment_minimum)
        {
          //!Indica para a interface que o motor esta em transicao
          size = sprintf(msg, "K\n");
          HAL_UART_Transmit(&huart6, (uint8_t *)msg, size, 10);
        }
        else
        {
          //!Indica para interface que o motor ja esta ligado
          size = sprintf(msg, "J\n");
          HAL_UART_Transmit(&huart6, (uint8_t *)msg, size, 10);
        }
        break;

      //!Procedimentos realizados quando e ordenado a desaceleracao
      case STOP:
        if ((!fall && !rise) && increment < (Arr_period - Pulse_Width))
        {
          if (HAL_UART_Receive(&huart6, rxtime, 2, 100) == HAL_OK)
          {
            taskENTER_CRITICAL();
            HAL_GPIO_WritePin(GPIOA, Power_relay_Pin, GPIO_PIN_SET);
            HAL_GPIO_WritePin(GPIOA, Bypass_relay_Pin, GPIO_PIN_RESET);
            falling_time = (uint8_t)(10 * (rxtime[0] - '0') + rxtime[1] - '0');
            //!Retorna o sucesso da comunicacao a interface
            size = sprintf(msg, "B\n");
            HAL_UART_Transmit(&huart6, (uint8_t *)msg, size, 10);
            fall = 1;
            rise = 0;
            HAL_TIM_Base_Start_IT(&htim1);
            HAL_TIM_OC_Start_IT(&htim3, TIM_CHANNEL_1);
            __HAL_TIM_SET_AUTORELOAD(&htim1, 0);
            __HAL_TIM_SET_AUTORELOAD(&htim1, (falling_time * 100) - 1);
            taskEXIT_CRITICAL();
          }
          else
          {
            //!Indica que o comando nao foi realizado com sucesso
            size = sprintf(msg, "ITimeout\n");
            HAL_UART_Transmit(&huart6, (uint8_t *)msg, size, 10);
          }
        }
        else if (increment != (Arr_period - Pulse_Width))
        {
          //!Indica para a interface que o motor esta em transicao
          size = sprintf(msg, "K\n");
          HAL_UART_Transmit(&huart6, (uint8_t *)msg, size, 10);
        }
        else
        {
          //!Indica para interface que o motor ja esta desligado
          size = sprintf(msg, "L\n");
          HAL_UART_Transmit(&huart6, (uint8_t *)msg, size, 10);
        }
        break;

      //!Procedimentos realizados quando e ordenado a parada de emergencia
      case EMERGENCY:
        size = sprintf(msg, "IEmergency...\n");
        HAL_UART_Transmit(&huart6, (uint8_t *)msg, size, 10);
        Emergency();
        break;
      }
    }

    //!Indica o fim da aceleracao a interface e envia os valores para o grafico de subida
    if (rise_ok)
    {
      rise_ok = 0;
      size = sprintf(msg, "r");
      HAL_UART_Transmit(&huart6, (uint8_t *)msg, size, 10);
      for (uint8_t count = 0; count < Aquisitions; count++)
      {
        size = sprintf(msg, "%d#", Irms_data_rise[count]);
        HAL_UART_Transmit(&huart6, (uint8_t *)msg, size, 10);
      }
      size = sprintf(msg, "\n");
      HAL_UART_Transmit(&huart6, (uint8_t *)msg, size, 10);
    }

    //!Indica o fim da desaceleracao a interface e envia os valores para o grafico de descida
    if (fall_ok)
    {
      fall_ok = 0;
      size = sprintf(msg, "f");
      HAL_UART_Transmit(&huart6, (uint8_t *)msg, size, 10);
      for (uint8_t count = 0; count < Aquisitions; count++)
      {
        size = sprintf(msg, "%d#", Irms_data_fall[count]);
        HAL_UART_Transmit(&huart6, (uint8_t *)msg, size, 10);
      }
      size = sprintf(msg, "\n");
      HAL_UART_Transmit(&huart6, (uint8_t *)msg, size, 10);
    }

    //!Indica uma emergencia a interface
    if (xSemaphoreTake(Emergency_Semaphore, 1))
    {
      size = sprintf(msg, "e\n");
      HAL_UART_Transmit(&huart6, (uint8_t *)msg, size, 10);
    }
    //!Indica Irms > 150% a interface
    if (xSemaphoreTake(E150_Semaphore, 1))
    {
      size = sprintf(msg, "c\n");
      HAL_UART_Transmit(&huart6, (uint8_t *)msg, size, 10);
    }
    osDelay(1);
  }
  /* USER CODE END Serial_Thread */
}

/* RPM_Thread function */
void RPM_Thread(void const *argument)
{
  /* USER CODE BEGIN RPM_Thread */
  /* Infinite loop */
  while (1)
  {
    osDelay(500);
  }
  /* USER CODE END RPM_Thread */
}

/* Alarm_Thread function */
/**
  * @brief Thread que checa  Irms>150%, Irms>200% e desenergizacao do motor
  * @note Caso Irms>150% o pulso retorna 3 unidades (1-100)
  * @note Caso Irms>200% e acionado a emergencia
  * @note Caso haja desenergizacao do motor e acionado a emergencia
  */
void Alarm_Thread(void const *argument)
{
  /* USER CODE BEGIN Alarm_Thread */
  /* Infinite loop */
  while (1)
  {
    taskENTER_CRITICAL();
    //!Checa se Irms>150% durante a aceleracao
    if (Irms >= i150 && rise && increment < 80)
    {
      xSemaphoreGive(E150_Semaphore);
      increment = increment + 3;
    }
    //!Checa se Irms>200%
    if (Irms > i200)
    {
      xSemaphoreGive(Emergency_Semaphore);
      Emergency();
    }
    //!Checa se o motor foi desenergizado durante a aceleracao ou enquanto estava em funcionamento
    if (Vrms < 13 && HAL_GPIO_ReadPin(GPIOA, Power_relay_Pin) && increment < 70)
    {
      xSemaphoreGive(Emergency_Semaphore);
      Emergency();
    }
    taskEXIT_CRITICAL();
    osDelay(100);
  }
  /* USER CODE END Alarm_Thread */
}

/* Initialization_Thread function */
/**
  * @brief Thread executada sempre que o programa e inicializado
  * @note Possui prioridade RealTime e e suspendida apos executada uma vez
  * @note Inicializa os perifericos a serem utilizados e cria os semaforos
  */
void Initialization_Thread(void const *argument)
{
  /* USER CODE BEGIN Initialization_Thread */
  HAL_ADC_Start_DMA(&hadc1, (uint32_t *)ADC_Values_Vrms, 16);
  HAL_ADC_Start_DMA(&hadc2, (uint32_t *)ADC_Values_Irms, 16);
  HAL_TIM_Base_Start(&htim2);
  vSemaphoreCreateBinary(ADC_Conv_Semaphore);
  vSemaphoreCreateBinary(Increment_Semaphore);
  vSemaphoreCreateBinary(Emergency_Semaphore);
  vSemaphoreCreateBinary(E150_Semaphore);
  vTaskSuspend(Initialization_Handle);
  /* Infinite loop */
  while (1)
  {
    osDelay(1);
  }
  /* USER CODE END Initialization_Thread */
}

/* SoftStart_Thread function */
/**
  * @brief Thread responsavel por atualizar o puslo de controle e monitora-lo
  * @note Realiza o deslocamento do puslo de controle
  * @note Indica com flags quando o motor foi acelerado ou desacelerado
  */
void SoftStart_Thread(void const *argument)
{
  /* USER CODE BEGIN SoftStart_Thread */
  /* Infinite loop */
  while (1)
  {
    //!A Thread so e executada quando ha atualizacao na variavel 'increment'
    if (xSemaphoreTake(Increment_Semaphore, 1))
    {
      if (fall)
      {
        //!Seta o inicio do pulso para 'increment' e seu final para 'increment' + 'Pulse_Width'
        if (__HAL_TIM_GET_COUNTER(&htim3) <= increment)
        {
          __HAL_TIM_SET_AUTORELOAD(&htim3, increment + Pulse_Width);
          __HAL_TIM_SET_COMPARE(&htim3, TIM_CHANNEL_1, increment);
        }
        //!Procedimentos realizados quando o motor e desacelerado
        if (increment >= (Arr_period - Pulse_Width))
        {
          taskENTER_CRITICAL();
          HAL_GPIO_WritePin(GPIOA, Power_relay_Pin, GPIO_PIN_RESET);
          HAL_GPIO_WritePin(GPIOA, Bypass_relay_Pin, GPIO_PIN_RESET);
          HAL_TIM_Base_Stop_IT(&htim1);
          fall = 0;
          fall_ok = 1;
          HAL_TIM_OC_Stop_IT(&htim3, TIM_CHANNEL_1);
          taskEXIT_CRITICAL();
        }
      }
      if (rise)
      {
        if (increment > Arr_period)
          increment = Increment_minimum;
        //!Seta o inicio do pulso para 'increment' e seu final para 'increment' + 'Pulse_Width'
        if (__HAL_TIM_GET_COUNTER(&htim3) <= increment)
        {
          __HAL_TIM_SET_AUTORELOAD(&htim3, increment + Pulse_Width);
          __HAL_TIM_SET_COMPARE(&htim3, TIM_CHANNEL_1, increment);
        }
        //!Procedimentos realizados quando o motor e acelerado
        if (increment == Increment_minimum)
        {
          taskENTER_CRITICAL();
          HAL_GPIO_WritePin(GPIOA, Bypass_relay_Pin, GPIO_PIN_SET);
          HAL_GPIO_WritePin(GPIOA, Power_relay_Pin, GPIO_PIN_SET);
          rise_ok = 1;
          HAL_TIM_Base_Stop_IT(&htim1);
          rise = 0;
          HAL_TIM_OC_Stop_IT(&htim3, TIM_CHANNEL_1);
          taskEXIT_CRITICAL();
        }
      }
    }
    osDelay(10);
  }
  /* USER CODE END SoftStart_Thread */
}

/* Chart_Thread function */
/**
  * @brief Thread responsavel por fazer a aquisicao dos graficos de subida e descida
  * @note Checa se o motor esta acelerando ou desacelerando e preenche o respectivo vetor do grafico
  * @note Realiza 25 medidas durante a transicao ('increment % 4', onde 'increment' varia de 1-100)
  * @note Realiza a medida 26 ao final de cada transicao
  */
void Chart_Thread(void const *argument)
{
  /* USER CODE BEGIN Chart_Thread */
  //!Variavel de contagem das aquisicoes
  uint8_t count = 0;
  /* Infinite loop */
  while (1)
  {
    if (rise)
    {
      if ((!(increment % 4)) && check)
      {
        check = 0;
        Irms_data_rise[count] = Irms;
        if (count < Aquisitions - 1)
          count++;
      }
      else if (increment == 1)
      {
        check = 1;
        Irms_data_rise[Aquisitions - 1] = Irms;
      }
    }
    if (fall)
    {
      if (increment == 1 && check)
      {
        check = 0;
        Irms_data_fall[0] = Irms;
      }
      else if ((!(increment % 4)) && check)
      {
        if (count < Aquisitions - 1)
          count++;
        check = 0;
        Irms_data_fall[count] = Irms;
      }
      if (count == Aquisitions)
      {
        check = 1;
      }
    }
    if (!rise && !fall)
      count = 0;
    osDelay(1);
  }
  /* USER CODE END Chart_Thread */
}

void HAL_TIM_PeriodElapsedCallback(TIM_HandleTypeDef *htim)
{
  /* USER CODE BEGIN Callback 0 */
  //!Checa se a interrupcao foi feita por TIM1
  if (htim->Instance == TIM1)
  {
    //!Disponibiliza o semaforo 'Increment_Semaphore' e seta a flag 'check' indicando atualizacao de 'increment'
    xSemaphoreGiveFromISR(Increment_Semaphore, &SoftStart_TaskHandle);
    check = 1;
    //!Checa se o motor esta acelerando e se Irms<150% para deslocar o pulso
    if (rise && Irms < i150)
      increment--;
    //!Checa se o motor esta desacelerando para deslocar o pulso
    if (fall)
      increment++;
  }
  /* USER CODE END Callback 0 */
  if (htim->Instance == TIM14)
  {
    HAL_IncTick();
  }
}

void _Error_Handler(char *file, int line)
{
  while (1)
  {
  }
}

/************************ (C) COPYRIGHT STMicroelectronics *****END OF FILE****/
